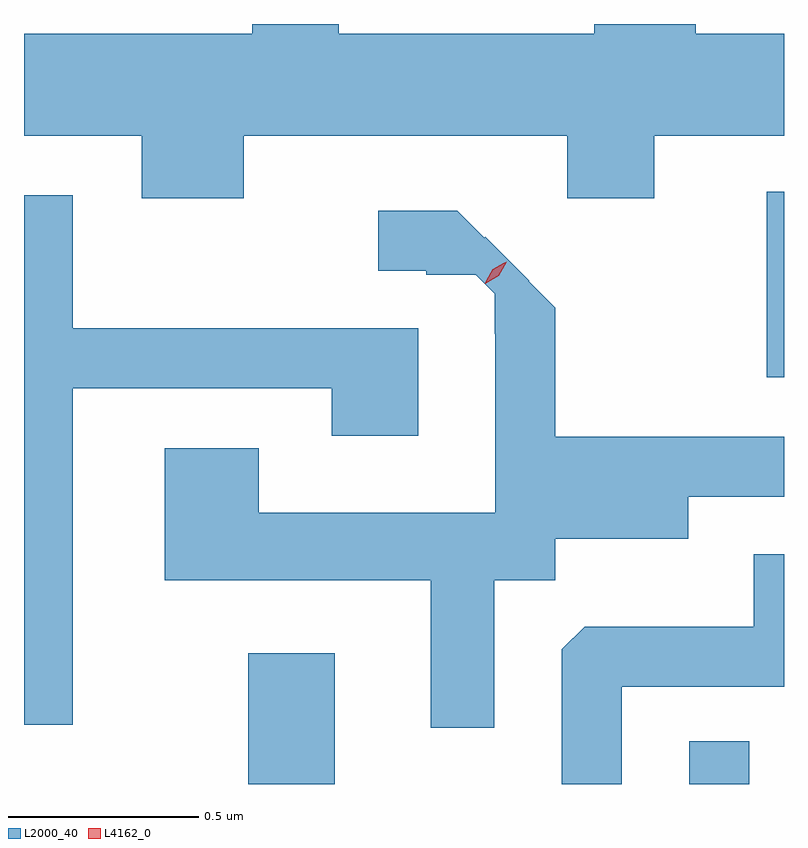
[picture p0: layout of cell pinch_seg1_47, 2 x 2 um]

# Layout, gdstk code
import gdstk
lib = gdstk.Library(unit=1e-6, precision=1e-09)
def R(c, l, rs):  # rectangles x0, y0, x1, y1
    for r in rs: c.add(gdstk.rectangle(r[:2], r[2:], *l))
def P(c, l, *ps):  # polygons
    for p in ps: c.add(gdstk.Polygon(p, *l))
L2000_40 = (2000, 40)
L4162_0 = (4162, 0)

pinch_seg1_47 = lib.new_cell('pinch_seg1_47')
R(pinch_seg1_47, L2000_40, [(1115.701,953.37,1115.929,953.714), (1116.861,953.37,1117.019,953.483), (1117.066,954.441,1117.111,954.928)])
P(pinch_seg1_47, L2000_40, [(1115.689,955.076),(1116.541,955.076),(1116.541,954.911),(1116.769,954.911),(1116.769,955.076),(1117.111,955.076),(1117.111,955.344),(1116.879,955.344),(1116.879,955.37),(1116.611,955.37),(1116.611,955.344),(1115.939,955.344),(1115.939,955.37),(1115.711,955.37),(1115.711,955.344),(1115.111,955.344),(1115.111,955.076),(1115.421,955.076),(1115.421,954.911),(1115.689,954.911)],
  [(1115.239,954.411),(1115.921,954.411),(1115.921,954.286),(1116.149,954.286),(1116.149,954.569),(1115.239,954.569),(1115.239,954.919),(1115.111,954.919),(1115.111,953.526),(1115.239,953.526)],
  [(1116.349,953.906),(1116.509,953.906),(1116.509,954.016),(1116.859,954.016),(1116.859,954.126),(1117.111,954.126),(1117.111,954.284),(1116.509,954.284),(1116.509,954.623),(1116.439,954.693),(1116.44,954.695),(1116.325,954.81),(1116.322,954.808),(1116.251,954.879),(1116.043,954.879),(1116.043,954.721),(1116.17,954.721),(1116.17,954.71),(1116.3,954.71),(1116.35,954.66),(1116.35,954.555),(1116.351,954.555),(1116.351,954.084),(1115.729,954.084),(1115.729,954.254),(1115.481,954.254),(1115.481,953.906),(1116.181,953.906),(1116.181,953.518),(1116.349,953.518)],
  [(1116.684,953.626),(1117.111,953.626),(1117.111,953.974),(1117.031,953.974),(1117.031,953.784),(1116.587,953.784),(1116.526,953.724),(1116.526,953.37),(1116.684,953.37)])
P(pinch_seg1_47, L4162_0, [(1116.324,954.686),(1116.324,954.687),(1116.346,954.723),(1116.381,954.745),(1116.382,954.745),(1116.382,954.744),(1116.36,954.708),(1116.325,954.686)],
  [(1116.327,954.693),(1116.327,954.694),(1116.344,954.725),(1116.375,954.742),(1116.376,954.742),(1116.376,954.741),(1116.358,954.71),(1116.328,954.693)])

lib.write_gds('pinch_seg1_47.gds')
